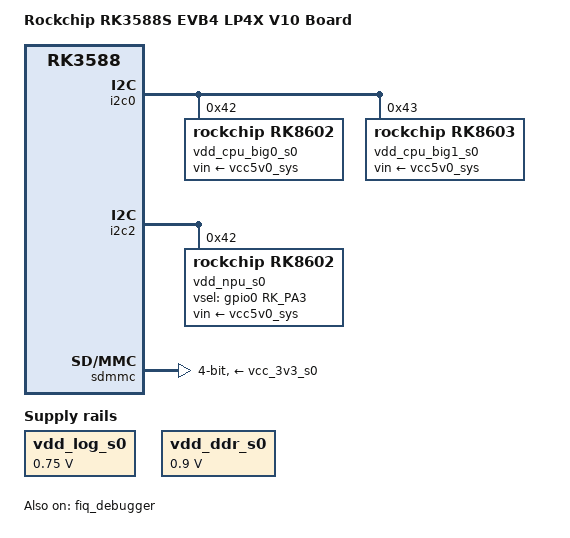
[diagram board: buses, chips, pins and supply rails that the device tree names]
// SPDX-License-Identifier: (GPL-2.0+ OR MIT)
/*
 * Copyright (c) 2021 Rockchip Electronics Co., Ltd.
 *
 */

/dts-v1/;

/* merage dtsi in rk3588s-evb4-lp4-v10-linux.dts */

#include "dt-bindings/usb/pd.h"
#include "../rk3588s.dtsi"
#include "../rk3588s-evb.dtsi"
#include "../rk3588-rk806-single.dtsi"
#include "../rk3588-linux.dtsi"

/ {
    model = "Rockchip RK3588S EVB4 LP4X V10 Board";
    compatible = "rockchip,rk3588s-evb4-lp4x-v10", "rockchip,rk3588";
};

&i2c0 {
    status = "okay";
    pinctrl-names = "default";
    pinctrl-0 = <&i2c0m2_xfer>;

    vdd_cpu_big0_s0: vdd_cpu_big0_mem_s0: rk8602@42 {
        compatible = "rockchip,rk8602";
        reg = <0x42>;
        vin-supply = <&vcc5v0_sys>;
        //vsel-gpios = <&gpio0 RK_PA3 GPIO_ACTIVE_HIGH>;
        regulator-compatible = "rk860x-reg";
        regulator-name = "vdd_cpu_big0_s0";
        regulator-min-microvolt = <550000>;
        regulator-max-microvolt = <1050000>;
        regulator-ramp-delay = <2300>;
        rockchip,suspend-voltage-selector = <1>;
        regulator-boot-on;
        regulator-always-on;
        regulator-state-mem {
            regulator-off-in-suspend;
        };
    };

    vdd_cpu_big1_s0: vdd_cpu_big1_mem_s0: rk8603@43 {
        compatible = "rockchip,rk8603";
        reg = <0x43>;
        vin-supply = <&vcc5v0_sys>;
        //vsel-gpios = <&gpio0 RK_PD6 GPIO_ACTIVE_HIGH>;
        regulator-compatible = "rk860x-reg";
        regulator-name = "vdd_cpu_big1_s0";
        regulator-min-microvolt = <550000>;
        regulator-max-microvolt = <1050000>;
        regulator-ramp-delay = <2300>;
        rockchip,suspend-voltage-selector = <1>;
        regulator-boot-on;
        regulator-always-on;
        regulator-state-mem {
            regulator-off-in-suspend;
        };
    };
};

&i2c2 {
    status = "okay";
        pinctrl-names = "default";
        pinctrl-0 = <&i2c2m0_xfer>;

    vdd_npu_s0: vdd_npu_mem_s0: rk8602@42 {
        compatible = "rockchip,rk8602";
        reg = <0x42>;
        vin-supply = <&vcc5v0_sys>;
        vsel-gpios = <&gpio0 RK_PA3 GPIO_ACTIVE_HIGH>;
        regulator-compatible = "rk860x-reg";
        regulator-name = "vdd_npu_s0";
        regulator-min-microvolt = <550000>;
        regulator-max-microvolt = <950000>;
        regulator-ramp-delay = <2300>;
        rockchip,suspend-voltage-selector = <1>;
        regulator-boot-on;
        regulator-always-on;
        regulator-state-mem {
            regulator-off-in-suspend;
        };
    };
};

&fiq_debugger {
    compatible = "rockchip,fiq-debugger";
    rockchip,serial-id = <2>;
    rockchip,wake-irq = <0>;
    /* If enable uart uses irq instead of fiq */
    rockchip,irq-mode-enable = <1>;
    rockchip,baudrate = <115200>;  /* Only 115200 and 1500000 */
    interrupts = <GIC_SPI 423 IRQ_TYPE_LEVEL_LOW>;
    pinctrl-names = "default";
    pinctrl-0 = <&uart2m0_xfer>;
    status = "okay";
};


&sdmmc {
	max-frequency = <200000000>;
	no-sdio;
	no-mmc;
	bus-width = <4>;
	cap-mmc-highspeed;
	cap-sd-highspeed;
	disable-wp;
	sd-uhs-sdr104;
	vmmc-supply = <&vcc_3v3_s0>;
	vqmmc-supply = <&vccio_sd_s0>;
	pinctrl-names = "default";
	pinctrl-0 = <&sdmmc_bus4 &sdmmc_clk &sdmmc_cmd &sdmmc_det>;
	status = "okay";
};


&vdd_log_s0 {
       regulator-always-on;
       regulator-boot-on;
       regulator-min-microvolt = <750000>;
       regulator-max-microvolt = <750000>;
       regulator-ramp-delay = <12500>;
       regulator-name = "vdd_log_s0";
       regulator-state-mem {
               regulator-off-in-suspend;
               regulator-suspend-microvolt = <750000>;
       };
};

&dmc {
    status = "disabled";
};
               
&dfi {
    status = "disabled";
};
                       
&vdd_ddr_s0 {
       regulator-always-on;
       regulator-boot-on;
       regulator-min-microvolt = <900000>;
       regulator-max-microvolt = <900000>;
       regulator-ramp-delay = <12500>;
       regulator-name = "vdd_ddr_s0";
       regulator-state-mem {
               regulator-off-in-suspend;
               regulator-suspend-microvolt = <900000>;
       };
};
